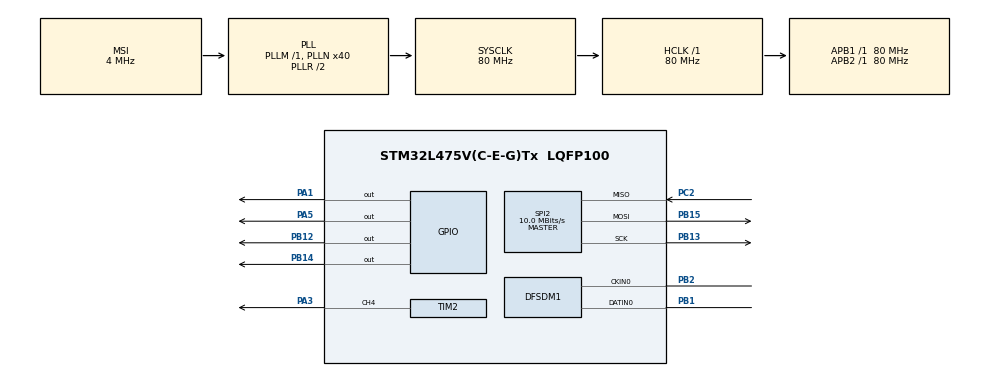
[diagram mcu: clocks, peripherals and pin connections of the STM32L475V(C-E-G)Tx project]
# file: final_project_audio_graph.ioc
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DFSDM1.DmaMode_reg_FIL0=ENABLE
DFSDM1.FastMode_reg_FIL0=DISABLE
DFSDM1.Filter_injChannel0_FIL0=__NULL
DFSDM1.Filter_regChannel_FIL0=DFSDM_CHANNEL_0
DFSDM1.Iosr_FIL0=64
DFSDM1.SincOrder_FIL0=DFSDM_FILTER_SINC3_ORDER
Dma.DFSDM1_FLT0.1.Direction=DMA_PERIPH_TO_MEMORY
Dma.DFSDM1_FLT0.1.Instance=DMA1_Channel4
Dma.DFSDM1_FLT0.1.MemDataAlignment=DMA_MDATAALIGN_WORD
Dma.DFSDM1_FLT0.1.MemInc=DMA_MINC_ENABLE
Dma.DFSDM1_FLT0.1.Mode=DMA_NORMAL
Dma.DFSDM1_FLT0.1.PeriphDataAlignment=DMA_PDATAALIGN_WORD
Dma.DFSDM1_FLT0.1.PeriphInc=DMA_PINC_DISABLE
Dma.DFSDM1_FLT0.1.Priority=DMA_PRIORITY_HIGH
Dma.Request0=TIM2_CH2/CH4
Dma.Request1=DFSDM1_FLT0
Dma.TIM2_CH2/CH4.0.Direction=DMA_PERIPH_TO_MEMORY
Dma.TIM2_CH2/CH4.0.Instance=DMA1_Channel7
Dma.TIM2_CH2/CH4.0.MemDataAlignment=DMA_MDATAALIGN_WORD
Dma.TIM2_CH2/CH4.0.MemInc=DMA_MINC_ENABLE
Dma.TIM2_CH2/CH4.0.Mode=DMA_CIRCULAR
Dma.TIM2_CH2/CH4.0.PeriphDataAlignment=DMA_PDATAALIGN_WORD
Dma.TIM2_CH2/CH4.0.PeriphInc=DMA_PINC_DISABLE
Dma.TIM2_CH2/CH4.0.Priority=DMA_PRIORITY_HIGH
Mcu.Family=STM32L4
Mcu.Name=STM32L475V(C-E-G)Tx
Mcu.Package=LQFP100
NVIC.DFSDM1_FLT0_IRQn=true\:0\:0\:false\:false\:true\:true\:true\:true
NVIC.DMA1_Channel4_IRQn=true\:0\:0\:false\:false\:true\:false\:true\:true
NVIC.DMA1_Channel7_IRQn=true\:0\:0\:false\:false\:true\:false\:true\:true
NVIC.PriorityGroup=NVIC_PRIORITYGROUP_4
PA1.Signal=GPIO_Output
PA3.Signal=S_TIM2_CH4
PA5.Signal=GPIO_Output
PB1.Signal=S_DATAIN0DFSDM1
PB12.Signal=GPIO_Output
PB13.Mode=Full_Duplex_Master
PB13.Signal=SPI2_SCK
PB14.Signal=GPIO_Output
PB15.Mode=Full_Duplex_Master
PB15.Signal=SPI2_MOSI
PB2.Signal=S_CKIN0DFSDM1
PC2.Mode=Full_Duplex_Master
PC2.Signal=SPI2_MISO
ProjectManager.HeapSize=0x200
ProjectManager.StackSize=0x400
ProjectManager.TargetToolchain=STM32CubeIDE
RCC.ADCFreq_Value=48000000
RCC.AHBFreq_Value=80000000
RCC.APB1Freq_Value=80000000
RCC.APB1TimFreq_Value=80000000
RCC.APB2Freq_Value=80000000
RCC.APB2TimFreq_Value=80000000
RCC.CortexFreq_Value=80000000
RCC.DFSDMCLockSelection=RCC_DFSDM1CLKSOURCE_SYSCLK
RCC.HCLKFreq_Value=80000000
RCC.HSE_VALUE=8000000
RCC.HSI_VALUE=16000000
RCC.LSE_VALUE=32768
RCC.MSI_VALUE=4000000
RCC.PLLN=40
RCC.PLLSAI1N=24
RCC.SYSCLKFreq_VALUE=80000000
RCC.SYSCLKSource=RCC_SYSCLKSOURCE_PLLCLK
RCC.USBFreq_Value=48000000
RCC.VCOOutputFreq_Value=160000000
SH.S_CKIN0DFSDM1.0=DFSDM1_CKIN0,PDM_SPI_input_from_ch0_and_external_clock
SH.S_DATAIN0DFSDM1.0=DFSDM1_DATIN0,PDM_SPI_input_from_ch0_and_external_clock
SH.S_TIM2_CH4.0=TIM2_CH4,Output Compare4 CH4
SPI2.BaudRatePrescaler=SPI_BAUDRATEPRESCALER_8
SPI2.CalculateBaudRate=10.0 MBits/s
SPI2.DataSize=SPI_DATASIZE_8BIT
SPI2.Direction=SPI_DIRECTION_2LINES
SPI2.Mode=SPI_MODE_MASTER
SPI2.VirtualType=VM_MASTER
TIM2.Channel-Output\ Compare4\ CH4=TIM_CHANNEL_4
TIM2.Period=1
TIM2.Prescaler=38
TIM2.Pulse-Output\ Compare4\ CH4=1
VP_TIM2_VS_ClockSourceINT.Mode=Internal
board=B-L475E-IOT01A1

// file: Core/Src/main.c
/* USER CODE BEGIN Header */
/**
 ******************************************************************************
 * @file           : main.c
 * @brief          : Main program body
 ******************************************************************************
 * @attention
 *
 * Copyright (c) 2024 STMicroelectronics.
 * All rights reserved.
 *
 * This software is licensed under terms that can be found in the LICENSE file
 * in the root directory of this software component.
 * If no LICENSE file comes with this software, it is provided AS-IS.
 *
 ******************************************************************************
 */
/* USER CODE END Header */
#include "main.h"
#include "dfsdm.h"
#include "dma.h"
#include "spi.h"
#include "tim.h"
#include "gpio.h"

/* USER CODE BEGIN Includes */
#include <math.h>
/* USER CODE END Includes */

/* USER CODE BEGIN PD */
#define AUDIO_BUFFER_SIZE 256
/* USER CODE END PD */

/* USER CODE BEGIN PM */
#define TFT_CS_LOW()     HAL_GPIO_WritePin(GPIOB, GPIO_PIN_12, GPIO_PIN_RESET)
#define TFT_CS_HIGH()    HAL_GPIO_WritePin(GPIOB, GPIO_PIN_12, GPIO_PIN_SET)
#define TFT_DC_LOW()     HAL_GPIO_WritePin(GPIOB, GPIO_PIN_14, GPIO_PIN_RESET)
#define TFT_DC_HIGH()    HAL_GPIO_WritePin(GPIOB, GPIO_PIN_14, GPIO_PIN_SET)
#define TFT_RST_LOW()    HAL_GPIO_WritePin(GPIOA, GPIO_PIN_1, GPIO_PIN_RESET)
#define TFT_RST_HIGH()   HAL_GPIO_WritePin(GPIOA, GPIO_PIN_1, GPIO_PIN_SET)
/* USER CODE END PM */

/* USER CODE BEGIN PV */
int32_t dfdsdm_buffer[AUDIO_BUFFER_SIZE];  // DFSDM raw data buffer
float volume_buffer[AUDIO_BUFFER_SIZE];   // Volume in decibels
volatile uint8_t data_ready = 0;          // Flag for new volume data
/* USER CODE END PV */

void SystemClock_Config(void);
/* USER CODE BEGIN PFP */
void TFT_Init(void);
void TFT_Write(uint8_t data);
void TFT_SendCommand(uint8_t cmd);
void TFT_SendData(uint8_t data);
void TFT_Clear(uint16_t color);
void TFT_DrawGraph(float *data, uint16_t size, uint16_t color);
void Process_Audio_Data(void);
float Calculate_dB(int32_t *buffer, uint16_t size);
/* USER CODE END PFP */

/* USER CODE BEGIN 0 */
/* Send data to the display via SPI */
void TFT_Write(uint8_t data)
{
  HAL_SPI_Transmit(&hspi2, &data, 1, HAL_MAX_DELAY);
}

/* Send a command to the display */
void TFT_SendCommand(uint8_t cmd)
{
  TFT_DC_LOW();
  TFT_CS_LOW();
  TFT_Write(cmd);
  TFT_CS_HIGH();
}

/* Send data to the display */
void TFT_SendData(uint8_t data)
{
  TFT_DC_HIGH();
  TFT_CS_LOW();
  TFT_Write(data);
  TFT_CS_HIGH();
}

/* Initialize the TFT Display */
void TFT_Init(void)
{
  // Reset the display
  TFT_RST_LOW();
  HAL_Delay(10);
  TFT_RST_HIGH();
  HAL_Delay(120);

  // Initialization commands for ILI9341
  TFT_SendCommand(0xEF);
  TFT_SendData(0x03);
  TFT_SendData(0x80);
  TFT_SendData(0x02);

  TFT_SendCommand(0xCF);
  TFT_SendData(0x00);
  TFT_SendData(0xC1);
  TFT_SendData(0x30);
}

void TFT_Clear(uint16_t color)
{
  uint16_t x, y;
  for (x = 0; x < 240; x++) {
    for (y = 0; y < 320; y++) {
      TFT_SendCommand(0x2A); // Set Column Address
      TFT_SendData(x >> 8);
      TFT_SendData(x & 0xFF);
      TFT_SendCommand(0x2B); // Set Row Address
      TFT_SendData(y >> 8);
      TFT_SendData(y & 0xFF);
      TFT_SendCommand(0x2C); // Write Memory Start
      TFT_SendData(color >> 8);
      TFT_SendData(color & 0xFF);
    }
  }
}

void TFT_DrawGraph(float *data, uint16_t size, uint16_t color)
{
  uint16_t x, y;
  for (x = 0; x < size; x++) {
    y = 320 - (uint16_t) (data[x] * 10);  // Scale dB data to screen height
    TFT_SendCommand(0x2A); // Set Column Address
    TFT_SendData(x >> 8);
    TFT_SendData(x & 0xFF);
    TFT_SendCommand(0x2B); // Set Row Address
    TFT_SendData(y >> 8);
    TFT_SendData(y & 0xFF);
    TFT_SendCommand(0x2C); // Write Memory Start
    TFT_SendData(color >> 8);
    TFT_SendData(color & 0xFF);
  }
}

/* Process Audio Data: Converts raw samples into decibels */
void Process_Audio_Data(void)
{
  float db_value = Calculate_dB(dfdsdm_buffer, AUDIO_BUFFER_SIZE);

  // Store decibel value into the volume buffer
  static uint16_t index = 0;
  volume_buffer[index++] = db_value;
  if (index >= AUDIO_BUFFER_SIZE) {
    index = 0;  // Wrap around
  }
}

/* Calculate the average volume in decibels */
float Calculate_dB(int32_t *buffer, uint16_t size)
{
  float sum_square = 0.0f;

  for (uint16_t i = 0; i < size; i++) {
    sum_square += (float) buffer[i] * (float) buffer[i];
  }

  float rms = sqrtf(sum_square / size);
  float db = 20.0f * log10f(rms + 1e-5); // Add small value to avoid log(0)
  return db;
}

/* Timer Callback: Set data_ready flag every 500ms */
void HAL_TIM_PeriodElapsedCallback(TIM_HandleTypeDef *htim)
{
  if (htim == &htim2) {
    data_ready = 1;
  }
}

/* DMA Error Callback */
void HAL_DFSDM_FilterErrorCallback(DFSDM_Filter_HandleTypeDef *hdfsdm_filter)
{
  Error_Handler();
}
/* USER CODE END 0 */

int main(void)
{

  /* MCU Configuration--------------------------------------------------------*/

  /* Reset of all peripherals, Initializes the Flash interface and the Systick. */
  HAL_Init();

  /* Configure the system clock */
  SystemClock_Config();

  /* Initialize all configured peripherals */
  MX_GPIO_Init();
  MX_DMA_Init();
  MX_TIM2_Init();
  MX_DFSDM1_Init();
  MX_SPI2_Init();
  /* USER CODE BEGIN 2 */
  HAL_StatusTypeDef dfsdm_status = HAL_DFSDM_FilterRegularStart_DMA(&hdfsdm1_filter0, (int32_t*) dfdsdm_buffer,
  AUDIO_BUFFER_SIZE);
  if (dfsdm_status != HAL_OK) {
    return 0;
  }
  HAL_TIM_Base_Start_IT(&htim2);
  /* USER CODE END 2 */

  /* Infinite loop */
  while (1) {

  }
}

void SystemClock_Config(void)
{
  RCC_OscInitTypeDef RCC_OscInitStruct = {0};
  RCC_ClkInitTypeDef RCC_ClkInitStruct = {0};

  /** Configure the main internal regulator output voltage
  */
  if (HAL_PWREx_ControlVoltageScaling(PWR_REGULATOR_VOLTAGE_SCALE1) != HAL_OK)
  {
    Error_Handler();
  }

  /** Initializes the RCC Oscillators according to the specified parameters
  * in the RCC_OscInitTypeDef structure.
  */
  RCC_OscInitStruct.OscillatorType = RCC_OSCILLATORTYPE_MSI;
  RCC_OscInitStruct.MSIState = RCC_MSI_ON;
  RCC_OscInitStruct.MSICalibrationValue = 0;
  RCC_OscInitStruct.MSIClockRange = RCC_MSIRANGE_6;
  RCC_OscInitStruct.PLL.PLLState = RCC_PLL_ON;
  RCC_OscInitStruct.PLL.PLLSource = RCC_PLLSOURCE_MSI;
  RCC_OscInitStruct.PLL.PLLM = 1;
  RCC_OscInitStruct.PLL.PLLN = 40;
  RCC_OscInitStruct.PLL.PLLP = RCC_PLLP_DIV7;
  RCC_OscInitStruct.PLL.PLLQ = RCC_PLLQ_DIV2;
  RCC_OscInitStruct.PLL.PLLR = RCC_PLLR_DIV2;
  if (HAL_RCC_OscConfig(&RCC_OscInitStruct) != HAL_OK)
  {
    Error_Handler();
  }

  /** Initializes the CPU, AHB and APB buses clocks
  */
  RCC_ClkInitStruct.ClockType = RCC_CLOCKTYPE_HCLK|RCC_CLOCKTYPE_SYSCLK
                              |RCC_CLOCKTYPE_PCLK1|RCC_CLOCKTYPE_PCLK2;
  RCC_ClkInitStruct.SYSCLKSource = RCC_SYSCLKSOURCE_PLLCLK;
  RCC_ClkInitStruct.AHBCLKDivider = RCC_SYSCLK_DIV1;
  RCC_ClkInitStruct.APB1CLKDivider = RCC_HCLK_DIV1;
  RCC_ClkInitStruct.APB2CLKDivider = RCC_HCLK_DIV1;

  if (HAL_RCC_ClockConfig(&RCC_ClkInitStruct, FLASH_LATENCY_4) != HAL_OK)
  {
    Error_Handler();
  }
}

void Error_Handler(void)
{
  __disable_irq();
  while (1) {
  }
}
